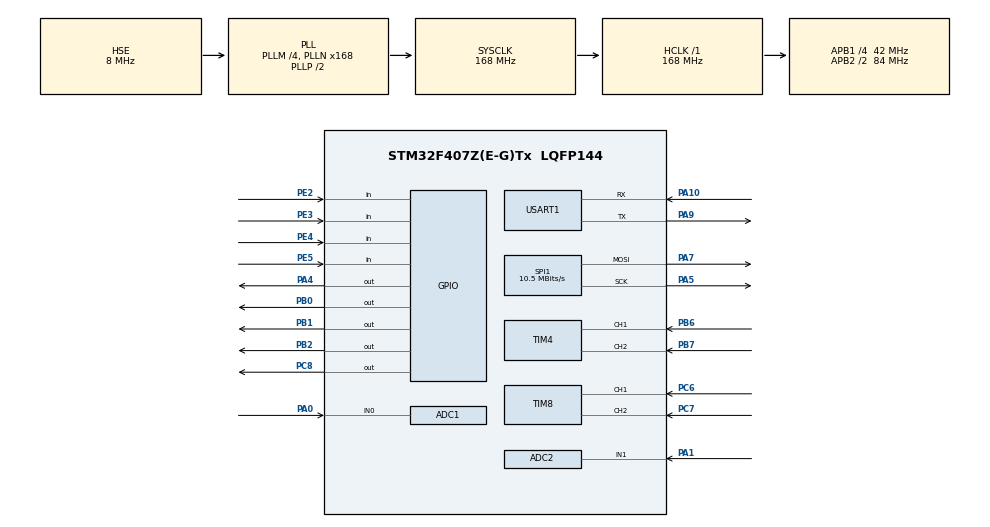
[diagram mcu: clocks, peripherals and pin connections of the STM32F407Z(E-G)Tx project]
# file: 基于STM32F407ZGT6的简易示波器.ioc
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ADC1.Channel-0\#ChannelRegularConversion=ADC_CHANNEL_0
ADC1.DMAAccessMode=ADC_DMAACCESSMODE_2
ADC1.ExternalTrigConv=ADC_EXTERNALTRIGCONV_T2_TRGO
ADC1.Mode=ADC_DUALMODE_REGSIMULT
ADC1.NbrOfConversionFlag=1
ADC1.Rank-0\#ChannelRegularConversion=1
ADC1.SamplingTime-0\#ChannelRegularConversion=ADC_SAMPLETIME_3CYCLES
ADC1.master=1
ADC2.Channel-0\#ChannelRegularConversion=ADC_CHANNEL_1
ADC2.DMAAccessMode=ADC_DMAACCESSMODE_2
ADC2.Mode=ADC_DUALMODE_REGSIMULT
ADC2.NbrOfConversionFlag=1
ADC2.Rank-0\#ChannelRegularConversion=1
ADC2.SamplingTime-0\#ChannelRegularConversion=ADC_SAMPLETIME_3CYCLES
Dma.ADC1.0.Direction=DMA_PERIPH_TO_MEMORY
Dma.ADC1.0.FIFOMode=DMA_FIFOMODE_DISABLE
Dma.ADC1.0.Instance=DMA2_Stream0
Dma.ADC1.0.MemDataAlignment=DMA_MDATAALIGN_WORD
Dma.ADC1.0.MemInc=DMA_MINC_ENABLE
Dma.ADC1.0.Mode=DMA_NORMAL
Dma.ADC1.0.PeriphDataAlignment=DMA_PDATAALIGN_WORD
Dma.ADC1.0.PeriphInc=DMA_PINC_DISABLE
Dma.ADC1.0.Priority=DMA_PRIORITY_HIGH
Dma.Request0=ADC1
Mcu.Family=STM32F4
Mcu.Name=STM32F407Z(E-G)Tx
Mcu.Package=LQFP144
NVIC.DMA2_Stream0_IRQn=true\:5\:0\:true\:false\:true\:false\:true\:true
NVIC.PriorityGroup=NVIC_PRIORITYGROUP_4
NVIC.TIM7_IRQn=true\:1\:0\:true\:false\:true\:false\:true\:true
NVIC.TimeBase=TIM7_IRQn
NVIC.TimeBaseIP=TIM7
PA0-WKUP.Signal=ADCx_IN0
PA1.Signal=ADCx_IN1
PA10.Mode=Asynchronous
PA10.Signal=USART1_RX
PA13.Mode=Serial_Wire
PA13.Signal=SYS_JTMS-SWDIO
PA14.Mode=Serial_Wire
PA14.Signal=SYS_JTCK-SWCLK
PA4.GPIO_ModeDefaultOutputPP=GPIO_MODE_OUTPUT_PP
PA4.GPIO_PuPd=GPIO_NOPULL
PA4.GPIO_Speed=GPIO_SPEED_FREQ_VERY_HIGH
PA4.PinState=GPIO_PIN_SET
PA4.Signal=GPIO_Output
PA5.Mode=TX_Only_Simplex_Unidirect_Master
PA5.Signal=SPI1_SCK
PA7.Mode=TX_Only_Simplex_Unidirect_Master
PA7.Signal=SPI1_MOSI
PA9.Mode=Asynchronous
PA9.Signal=USART1_TX
PB0.GPIO_ModeDefaultOutputPP=GPIO_MODE_OUTPUT_PP
PB0.GPIO_PuPd=GPIO_NOPULL
PB0.GPIO_Speed=GPIO_SPEED_FREQ_VERY_HIGH
PB0.PinState=GPIO_PIN_SET
PB0.Signal=GPIO_Output
PB1.GPIO_ModeDefaultOutputPP=GPIO_MODE_OUTPUT_PP
PB1.GPIO_PuPd=GPIO_NOPULL
PB1.GPIO_Speed=GPIO_SPEED_FREQ_VERY_HIGH
PB1.PinState=GPIO_PIN_SET
PB1.Signal=GPIO_Output
PB2.GPIO_ModeDefaultOutputPP=GPIO_MODE_OUTPUT_PP
PB2.GPIO_PuPd=GPIO_NOPULL
PB2.GPIO_Speed=GPIO_SPEED_FREQ_VERY_HIGH
PB2.PinState=GPIO_PIN_SET
PB2.Signal=GPIO_Output
PB6.Signal=S_TIM4_CH1
PB7.Signal=S_TIM4_CH2
PC6.Signal=S_TIM8_CH1
PC7.Signal=S_TIM8_CH2
PC8.GPIO_Speed=GPIO_SPEED_FREQ_VERY_HIGH
PC8.PinState=GPIO_PIN_RESET
PC8.Signal=GPIO_Output
PE2.GPIO_Mode=GPIO_MODE_INPUT
PE2.GPIO_PuPd=GPIO_PULLUP
PE2.Signal=GPIO_Input
PE3.GPIO_Mode=GPIO_MODE_INPUT
PE3.GPIO_PuPd=GPIO_PULLUP
PE3.Signal=GPIO_Input
PE4.GPIO_Mode=GPIO_MODE_INPUT
PE4.GPIO_PuPd=GPIO_PULLUP
PE4.Signal=GPIO_Input
PE5.GPIO_Mode=GPIO_MODE_INPUT
PE5.GPIO_PuPd=GPIO_PULLUP
PE5.Signal=GPIO_Input
PH0-OSC_IN.Mode=HSE-External-Oscillator
PH0-OSC_IN.Signal=RCC_OSC_IN
PH1-OSC_OUT.Mode=HSE-External-Oscillator
PH1-OSC_OUT.Signal=RCC_OSC_OUT
ProjectManager.HeapSize=0x200
ProjectManager.StackSize=0x400
ProjectManager.TargetToolchain=CMake
RCC.48MHZClocksFreq_Value=84000000
RCC.AHBFreq_Value=168000000
RCC.APB1CLKDivider=RCC_HCLK_DIV4
RCC.APB1Freq_Value=42000000
RCC.APB1TimFreq_Value=84000000
RCC.APB2CLKDivider=RCC_HCLK_DIV2
RCC.APB2Freq_Value=84000000
RCC.APB2TimFreq_Value=168000000
RCC.CortexFreq_Value=168000000
RCC.HCLKFreq_Value=168000000
RCC.HSE_VALUE=8000000
RCC.HSI_VALUE=16000000
RCC.LSE_VALUE=32768
RCC.PLLM=4
RCC.PLLN=168
RCC.PLLSourceVirtual=RCC_PLLSOURCE_HSE
RCC.SYSCLKFreq_VALUE=168000000
RCC.SYSCLKSource=RCC_SYSCLKSOURCE_PLLCLK
RCC.VCOOutputFreq_Value=336000000
SH.ADCx_IN0.0=ADC1_IN0,IN0
SH.ADCx_IN1.0=ADC2_IN1,IN1
SH.S_TIM4_CH1.0=TIM4_CH1,Input_Capture1_from_TI1
SH.S_TIM4_CH2.0=TIM4_CH2,Input_Capture2_from_TI2
SH.S_TIM8_CH1.0=TIM8_CH1,Input_Capture1_from_TI1
SH.S_TIM8_CH2.0=TIM8_CH2,Input_Capture2_from_TI2
SPI1.BaudRatePrescaler=SPI_BAUDRATEPRESCALER_8
SPI1.CLKPhase=SPI_PHASE_2EDGE
SPI1.CLKPolarity=SPI_POLARITY_HIGH
SPI1.CalculateBaudRate=10.5 MBits/s
SPI1.Direction=SPI_DIRECTION_2LINES
SPI1.Mode=SPI_MODE_MASTER
SPI1.VirtualType=VM_MASTER
TIM2.AutoReloadPreload=TIM_AUTORELOAD_PRELOAD_ENABLE
TIM2.Period=10-1
TIM2.Prescaler=84-1
TIM2.TIM_MasterOutputTrigger=TIM_TRGO_UPDATE
TIM4.AutoReloadPreload=TIM_AUTORELOAD_PRELOAD_ENABLE
TIM4.Channel-Input_Capture1_from_TI1=TIM_CHANNEL_1
TIM4.Channel-Input_Capture2_from_TI2=TIM_CHANNEL_2
TIM4.ICFilter_CH1=15
TIM4.ICFilter_CH2=15
TIM8.AutoReloadPreload=TIM_AUTORELOAD_PRELOAD_ENABLE
TIM8.Channel-Input_Capture1_from_TI1=TIM_CHANNEL_1
TIM8.Channel-Input_Capture2_from_TI2=TIM_CHANNEL_2
TIM8.ICFilter_CH1=15
TIM8.ICFilter_CH2=15
USART1.VirtualMode=VM_ASYNC
VP_SYS_VS_tim7.Mode=TIM7
VP_TIM2_VS_ClockSourceINT.Mode=Internal
VP_TIM4_VS_ClockSourceINT.Mode=Internal
VP_TIM8_VS_ClockSourceINT.Mode=Internal
board=custom

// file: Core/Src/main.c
/* USER CODE BEGIN Header */
/**
  ******************************************************************************
  * @file           : main.c
  * @brief          : Main program body
  ******************************************************************************
  * @attention
  *
  * Copyright (c) 2026 STMicroelectronics.
  * All rights reserved.
  *
  * This software is licensed under terms that can be found in the LICENSE file
  * in the root directory of this software component.
  * If no LICENSE file comes with this software, it is provided AS-IS.
  *
  ******************************************************************************
  */
/* USER CODE END Header */
#include "main.h"
#include "adc.h"
#include "dma.h"
#include "spi.h"
#include "tim.h"
#include "usart.h"
#include "gpio.h"

/* USER CODE BEGIN Includes */
/* FreeRTOS 应用层入口（内核本身由 ThirdParty/FreeRTOS 与 cmake 集成，见顶层 CMakeLists.txt） */
#include "FreeRTOS.h"
#include "stm32f407xx.h"
#include "stm32f4xx_hal.h"
#include "task.h"
#include "freertos_app.h"
#include "SPI.h"
#include "Key.h"
#include "LED.h"
#include <stdio.h>          /* printf: 已由 User/BSP/Src/Retarget.c 重定向到 USART1 */
#include "ADC_Drv.h"        /* 双 ADC 采集驱动：业务层只调这里的接口 */
#include "Frontend.h"       /* 前端标定表：上电从 flash 读回逐通道逐量程参数 */
#include "ADC_Test.h"       /* ADC1/ADC2 自检（User/BSP/Src/ADC_Test.c） */
#include "ADC_DMA_Test.h"   /* 双 ADC 同步 + DMA 采集测试（User/BSP/Src/ADC_DMA_Test.c） */
#include "Encoder.h"
#include "App_Scope.h"      /* 示波器应用层：输入、采集、界面 */
#include "App_Rtos.h"       /* 任务层：采集 / 界面 / 监控三个任务 */
#include "ADC_SelfCheck.h"  /* 前端偏置改造自检（纯串口输出） */
#include "ADC_NoiseTest.h"  /* 噪声 A/B 对比：判断刷屏耦合还是前端本身（串口输出） */
/* USER CODE END Includes */

/* USER CODE BEGIN PD */
/* 前端改造自检开关：
   1 = 只跑串口自检（跳过 LCD 初始化），用于核对偏置电路
   0 = 正常跑示波器界面
   自检做完后把这里改回 0 重新编译即可，其他代码不用动。 */
#define APP_RUN_SELFCHECK   0

/* 噪声 A/B 对比开关：
   1 = 只跑 A/B 对比并串口打印（不启动 RTOS，但需要 LCD 初始化正常），
   0 = 正常跑示波器界面。
   用途：判断"波形噪声大"是 LCD 刷屏耦合进采样窗口，还是前端电路本身，
   拿到数字后改回 0 即可。 */
#define APP_RUN_NOISETEST   0
/* USER CODE END PD */

void SystemClock_Config(void);

int main(void)
{

  /* MCU Configuration--------------------------------------------------------*/

  /* Reset of all peripherals, Initializes the Flash interface and the Systick. */
   HAL_Init();

  /* Configure the system clock */
  SystemClock_Config();

  /* Initialize all configured peripherals */
  MX_GPIO_Init();
  MX_DMA_Init();
  MX_USART1_UART_Init();
  MX_TIM8_Init();
  MX_ADC1_Init();
  MX_ADC2_Init();
  MX_TIM4_Init();
  MX_TIM2_Init();
  MX_SPI1_Init();
  /* USER CODE BEGIN 2 */
  /* ADC 驱动初始化：必须在 MX_ADC1_Init()/MX_ADC2_Init() 之后、开始采集之前 */
  (void)ADC_Drv_Init();

  /* 前端标定表初始化：优先从 flash 扇区 11 读回上次的两点标定结果，
     读不到（首上电 / 校验失败）就用设计默认值。必须在任何采集之前。 */
  Frontend_Init();

#if (APP_RUN_SELFCHECK != 0)
  /* 前端自检模式：不初始化 LCD、不启动调度器，直接走下面的裸机循环 */
#elif (APP_RUN_NOISETEST != 0)
  /* 噪声 A/B 模式：需要 LCD 与视图层就绪，但不启动调度器 */
  App_Scope_Init();
#else
  /* 界面初始化：LCD 上电、画框架、装载默认参数
     必须在 MX_SPI1_Init() 与 ADC_Drv_Init() 之后、调度器启动之前 */
  App_Scope_Init();

  /* 创建采集 / 界面 / 监控三个任务并启动调度器；正常情况下不返回。
     自检模式（APP_RUN_SELFCHECK == 1）不启动 RTOS，走下面的裸机循环。 */
  App_Rtos_Start();
#endif

  /* USER CODE END 2 */

  /* Infinite loop */
  while (1)
  {

    /* USER CODE BEGIN 3 */
#if (APP_RUN_SELFCHECK != 0)
    /* 前端偏置自检（裸机模式）：每 500 ms 往 USART1 打一行读数 */
    ADC_SelfCheck_Run();
#elif (APP_RUN_NOISETEST != 0)
    /* 噪声 A/B 对比（裸机模式）：先不刷屏采一组、再边刷屏边采一组 */
    ADC_NoiseTest_Run();
#else
    /* 正常模式走不到这里：App_Rtos_Start() 启动调度器后不返回。
       采集与界面由 acq / ui 两个任务分别推进，见 User/App/Src/App_Rtos.c。 */
#endif
  }
  /* USER CODE END 3 */
}

void SystemClock_Config(void)
{
  RCC_OscInitTypeDef RCC_OscInitStruct = {0};
  RCC_ClkInitTypeDef RCC_ClkInitStruct = {0};

  /** Configure the main internal regulator output voltage
  */
  __HAL_RCC_PWR_CLK_ENABLE();
  __HAL_PWR_VOLTAGESCALING_CONFIG(PWR_REGULATOR_VOLTAGE_SCALE1);

  /** Initializes the RCC Oscillators according to the specified parameters
  * in the RCC_OscInitTypeDef structure.
  */
  RCC_OscInitStruct.OscillatorType = RCC_OSCILLATORTYPE_HSE;
  RCC_OscInitStruct.HSEState = RCC_HSE_ON;
  RCC_OscInitStruct.PLL.PLLState = RCC_PLL_ON;
  RCC_OscInitStruct.PLL.PLLSource = RCC_PLLSOURCE_HSE;
  RCC_OscInitStruct.PLL.PLLM = 4;
  RCC_OscInitStruct.PLL.PLLN = 168;
  RCC_OscInitStruct.PLL.PLLP = RCC_PLLP_DIV2;
  RCC_OscInitStruct.PLL.PLLQ = 4;
  if (HAL_RCC_OscConfig(&RCC_OscInitStruct) != HAL_OK)
  {
    Error_Handler();
  }

  /** Initializes the CPU, AHB and APB buses clocks
  */
  RCC_ClkInitStruct.ClockType = RCC_CLOCKTYPE_HCLK|RCC_CLOCKTYPE_SYSCLK
                              |RCC_CLOCKTYPE_PCLK1|RCC_CLOCKTYPE_PCLK2;
  RCC_ClkInitStruct.SYSCLKSource = RCC_SYSCLKSOURCE_PLLCLK;
  RCC_ClkInitStruct.AHBCLKDivider = RCC_SYSCLK_DIV1;
  RCC_ClkInitStruct.APB1CLKDivider = RCC_HCLK_DIV4;
  RCC_ClkInitStruct.APB2CLKDivider = RCC_HCLK_DIV2;

  if (HAL_RCC_ClockConfig(&RCC_ClkInitStruct, FLASH_LATENCY_5) != HAL_OK)
  {
    Error_Handler();
  }
}

void HAL_TIM_PeriodElapsedCallback(TIM_HandleTypeDef *htim)
{
  if (htim->Instance == TIM7)
  {
    HAL_IncTick();
  }
  /* USER CODE BEGIN Callback 1 */
  if (htim->Instance == TIM7)
  {
    Key_Tick();
    /* LED 心跳：每 500 ms 翻转一次，RUN / HOLD 都一样。
       放在 1 ms 中断里而不是任务里——界面任务刷一帧要几十毫秒，
       低优先级任务会被饿死，放任务里闪烁就不准了。 */
    LED_Tick();
  }
  /* USER CODE END Callback 1 */
}

void Error_Handler(void)
{
  __disable_irq();
  while (1)
  {
  }
}
